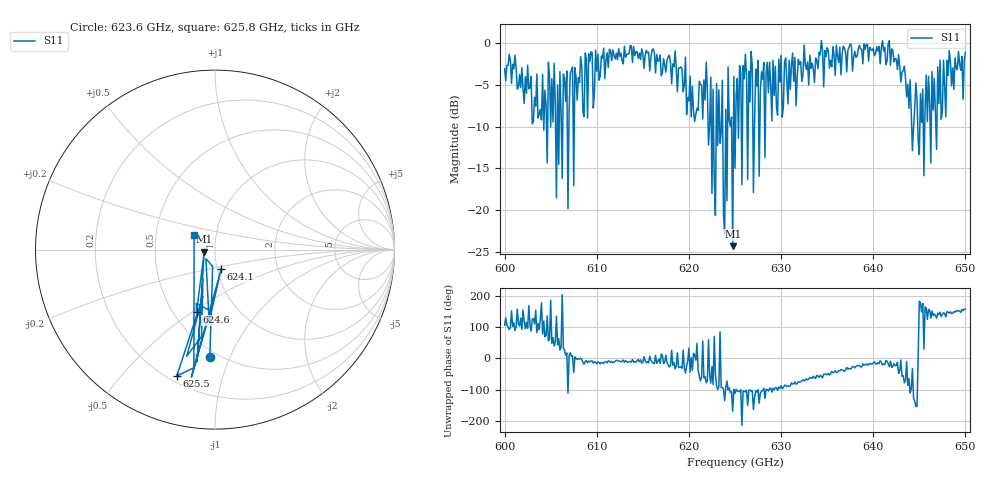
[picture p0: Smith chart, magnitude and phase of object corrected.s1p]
!Created with skrf (http://scikit-rf.org).
# GHz S MA R 50.0
!freq magS11 angS11
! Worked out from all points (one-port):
!   401 points, 600 GHz to 650 GHz, reference 50 ohm
!   lowest |S11| = -24.3 dB at 624.8 GHz (marker M1), VSWR 1.13, Z = 44.4 - j0.979 ohm
!   |S11| at or under -10 dB: 622.6772 GHz to 622.9592 GHz (282 MHz wide, 0.0453 % of centre); 623.3362 GHz to 623.5166 GHz (180.3 MHz wide, 0.0289 % of centre); 623.6684 GHz to 623.9826 GHz (314.2 MHz wide, 0.0504 % of centre) (the widest 3 of 28)
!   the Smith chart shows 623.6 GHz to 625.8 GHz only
!   S11 on the Smith chart (normalised r, x): 623.6 GHz: 0.45, -0.85; 624.1 GHz: 1.05, -0.23; 624.6 GHz: 0.65, -0.52; 625.5 GHz: 0.23, -0.72; 625.8 GHz: 0.78, +0.13
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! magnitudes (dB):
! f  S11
! 600 GHz  -3.0
! 604.4 GHz  -5.6
! 605.1 GHz  -4.3
! 605.9 GHz  -14.5
! 606.2 GHz  -16.2
! 612.5 GHz  -1.6
! 618.8 GHz  -5.8
! 620.8 GHz  -8.5
! 621.8 GHz  -6.8
! 622.6 GHz  -5.5
! 623.4 GHz  -12.0
! 623.6 GHz  -4.4
! 624.1 GHz  -18.9
! 624.2 GHz  -2.8
! 624.6 GHz  -8.8
! 624.8 GHz  -24.3
! 625 GHz  -15.0
! 625.4 GHz  -11.4
! 625.5 GHz  -2.7
! 625.8 GHz  -17.0
! 627.1 GHz  -9.6
! 631.2 GHz  -1.2
! 637.5 GHz  -0.1
! 641.9 GHz  -2.6
! 643.8 GHz  -4.9
! 645.2 GHz  -9.5
! 645.9 GHz  -9.4
! 650 GHz  -1.1
